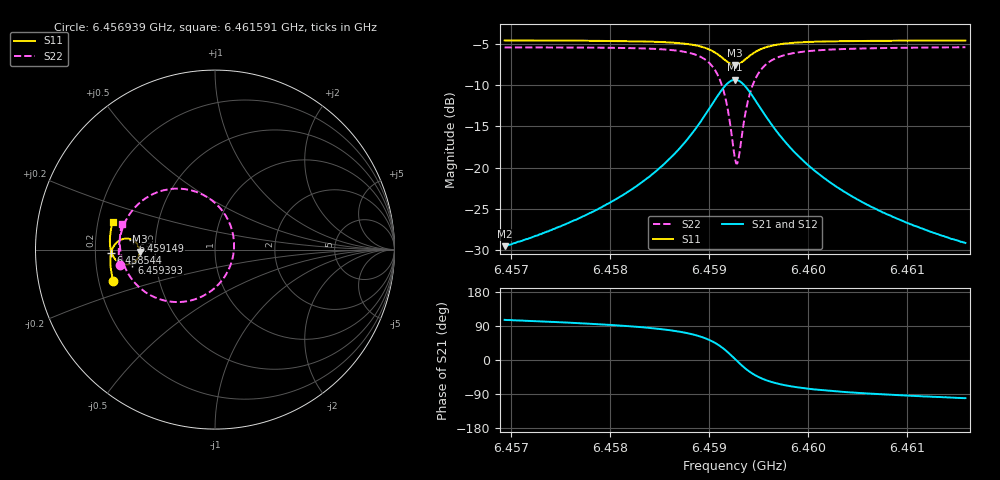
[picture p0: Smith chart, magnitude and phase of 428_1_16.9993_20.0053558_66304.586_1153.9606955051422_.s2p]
#  HZ  S  RI  R  50.00
! Rohde & Schwarz Vector Network Analyzer
! Rohde-Schwarz,ZNB20-2Port,1311601062101988,3.16
! Created: UTC 3/20/2024, 11:11:14 PM
! freq[Hz]  re:S11  im:S11  re:S21  im:S21  re:S12  im:S12  re:S22  im:S22
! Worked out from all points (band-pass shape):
!   401 points, 6.456939 GHz to 6.461591 GHz, reference 50 ohm
!   highest |S21| = -9.33 dB at 6.459265 GHz (marker M1); lowest = -29.6 dB at 6.456939 GHz (marker M2)
!   |S21| within 3 dB of the highest: 6.459032 GHz to 6.459497 GHz (465 kHz wide, 0.0072 % of centre)
!   lowest |S11| = -7.5 dB at 6.459265 GHz (marker M3), VSWR 2.45, Z = 20.4 - j0.531 ohm
!   |S11| at or under -10 dB: nowhere
!   |S22| runs from -19.5 to -5.4 dB; largest |S21 - S12| = 0.013
!   S11 on the Smith chart (normalised r, x): 6.456939 GHz: 0.26, -0.14; 6.458544 GHz: 0.27, -0.01; 6.459149 GHz: 0.37, +0.05; 6.459393 GHz: 0.37, -0.07; 6.461591 GHz: 0.26, +0.12
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6.456939e9  -0.5659 -0.175  -0.00913 0.032  -0.00736 0.032  -0.5299 -0.0882
6.4577182e9  -0.5803 -0.1073  -0.00588 0.0497  -0.00337 0.0491  -0.5361 0.00201
6.4581485e9  -0.5835 -0.0643  -7.6e-05 0.069  0.00323 0.0677  -0.5285 0.0693
6.4584974e9  -0.5799 -0.023  0.0135 0.0976  0.0175 0.0949  -0.5038 0.1467
6.4585439e9  -0.5785 -0.0167  0.0168 0.1029  0.0209 0.1  -0.4978 0.16
6.4587532e9  -0.5665 0.0151  0.0426 0.1344  0.0468 0.1296  -0.4498 0.2312
6.4589044e9  -0.5455 0.0414  0.0846 0.1644  0.088 0.158  -0.3721 0.2953
6.4590556e9  -0.4998 0.0611  0.1755 0.1837  0.1764 0.1763  -0.2062 0.3395
6.4591486e9  -0.4556 0.0513  0.2642 0.1532  0.2647 0.1473  -0.0415 0.2912
6.4591951e9  -0.4346 0.0328  0.3078 0.111  0.309 0.1058  0.0409 0.2163
6.4592649e9  -0.4198 -0.0107  0.3411 0.0152  0.3447 0.00842  0.1061 0.0388
6.4592766e9  -0.4203 -0.0188  0.341 -0.00234  0.3448 -0.00975  0.1058 0.00574
6.4592998e9  -0.4238 -0.0341  0.3357 -0.0366  0.3395 -0.0456  0.0953 -0.0595
6.4593463e9  -0.4392 -0.06  0.3076 -0.0959  0.3098 -0.1077  0.0389 -0.1715
6.4593928e9  -0.4609 -0.076  0.2663 -0.1367  0.2654 -0.1498  -0.0448 -0.2459
6.4594859e9  -0.5039 -0.0827  0.1825 -0.1679  0.1764 -0.1792  -0.2113 -0.2921
6.4596371e9  -0.5473 -0.0623  0.0955 -0.1544  0.0872 -0.1606  -0.3772 -0.244
6.4597999e9  -0.5685 -0.0346  0.0512 -0.1271  0.0436 -0.1297  -0.4569 -0.173
6.4600441e9  -0.5812 0.000998  0.0221 -0.0961  0.0164 -0.0964  -0.5046 -0.0915
6.4603697e9  -0.5856 0.0396  0.00691 -0.0709  0.00283 -0.0704  -0.5254 -0.0173
6.4608233e9  -0.5836 0.0852  -0.00137 -0.0512  -0.0042 -0.0505  -0.5302 0.0549
6.4615908e9  -0.571 0.1529  -0.0064 -0.0342  -0.00808 -0.0331  -0.5188 0.145
